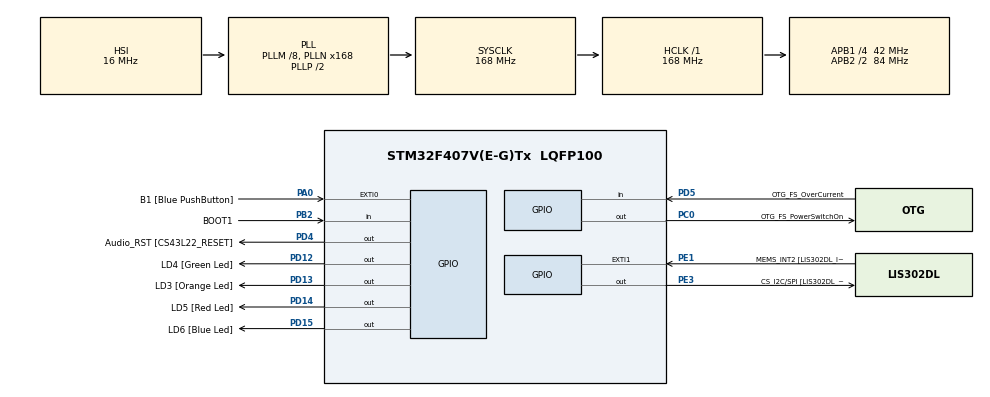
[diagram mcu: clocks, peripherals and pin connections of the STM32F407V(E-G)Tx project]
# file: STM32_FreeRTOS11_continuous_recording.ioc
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Mcu.Family=STM32F4
Mcu.Name=STM32F407V(E-G)Tx
Mcu.Package=LQFP100
NVIC.EXTI0_IRQn=true\:6\:0\:true\:false\:true\:true\:false\:true
NVIC.PriorityGroup=NVIC_PRIORITYGROUP_4
NVIC.TIM6_DAC_IRQn=true\:0\:0\:true\:false\:true\:false\:true\:true
NVIC.TimeBase=TIM6_DAC_IRQn
NVIC.TimeBaseIP=TIM6
PA0-WKUP.GPIO_Label=B1 [Blue PushButton]
PA0-WKUP.Signal=GPXTI0
PA10.GPIO_Label=OTG_FS_ID
PA10.GPIO_Mode=GPIO_MODE_AF_PP
PA10.GPIO_PuPd=GPIO_NOPULL
PA10.GPIO_Speed=GPIO_SPEED_FREQ_LOW
PA10.Signal=USB_OTG_FS_ID
PA11.GPIO_Label=OTG_FS_DM
PA11.GPIO_Mode=GPIO_MODE_AF_PP
PA11.GPIO_PuPd=GPIO_NOPULL
PA11.GPIO_Speed=GPIO_SPEED_FREQ_LOW
PA11.Signal=USB_OTG_FS_DM
PA12.GPIO_Label=OTG_FS_DP
PA12.GPIO_Mode=GPIO_MODE_AF_PP
PA12.GPIO_PuPd=GPIO_NOPULL
PA12.GPIO_Speed=GPIO_SPEED_FREQ_LOW
PA12.Signal=USB_OTG_FS_DP
PA13.GPIO_Label=SWDIO
PA13.Mode=Trace_Asynchronous_SW
PA13.Signal=SYS_JTMS-SWDIO
PA14.GPIO_Label=SWCLK
PA14.Mode=Trace_Asynchronous_SW
PA14.Signal=SYS_JTCK-SWCLK
PA4.GPIO_Label=I2S3_WS [CS43L22_LRCK]
PA4.GPIO_Mode=GPIO_MODE_AF_PP
PA4.GPIO_PuPd=GPIO_NOPULL
PA4.GPIO_Speed=GPIO_SPEED_FREQ_LOW
PA4.Signal=I2S3_WS
PA5.GPIO_Label=SPI1_SCK [LIS302DL_SCL/SPC]
PA5.GPIO_Mode=GPIO_MODE_AF_PP
PA5.GPIO_PuPd=GPIO_NOPULL
PA5.GPIO_Speed=GPIO_SPEED_FREQ_LOW
PA5.Signal=SPI1_SCK
PA6.GPIO_Label=SPI1_MISO [LIS302DL_SDO]
PA6.GPIO_Mode=GPIO_MODE_AF_PP
PA6.GPIO_PuPd=GPIO_NOPULL
PA6.GPIO_Speed=GPIO_SPEED_FREQ_LOW
PA6.Signal=SPI1_MISO
PA7.GPIO_Label=SPI1_MOSI [LIS302DL_SDA/SDI/SDO]
PA7.GPIO_Mode=GPIO_MODE_AF_PP
PA7.GPIO_PuPd=GPIO_NOPULL
PA7.GPIO_Speed=GPIO_SPEED_FREQ_LOW
PA7.Signal=SPI1_MOSI
PA9.GPIO_Label=VBUS_FS
PA9.GPIO_Mode=GPIO_MODE_INPUT
PA9.GPIO_PuPd=GPIO_NOPULL
PA9.Signal=USB_OTG_FS_VBUS
PB10.GPIO_Label=CLK_IN [MP45DT02_CLK]
PB10.GPIO_Mode=GPIO_MODE_AF_PP
PB10.GPIO_PuPd=GPIO_NOPULL
PB10.GPIO_Speed=GPIO_SPEED_FREQ_LOW
PB10.Signal=I2S2_CK
PB2.GPIO_Label=BOOT1
PB2.GPIO_Mode=GPIO_MODE_INPUT
PB2.GPIO_PuPd=GPIO_NOPULL
PB2.Signal=GPIO_Input
PB3.GPIO_Label=SWO
PB3.Mode=Trace_Asynchronous_SW
PB3.Signal=SYS_JTDO-SWO
PB6.GPIO_Label=Audio_SCL [CS43L22_SCL]
PB6.GPIO_Mode=GPIO_MODE_AF_OD
PB6.GPIO_PuPd=GPIO_NOPULL
PB6.GPIO_Speed=GPIO_SPEED_FREQ_LOW
PB6.Signal=I2C1_SCL
PB9.GPIO_Label=Audio_SDA [CS43L22_SDA]
PB9.GPIO_Mode=GPIO_MODE_AF_OD
PB9.GPIO_PuPd=GPIO_NOPULL
PB9.GPIO_Speed=GPIO_SPEED_FREQ_LOW
PB9.Signal=I2C1_SDA
PC0.GPIO_Label=OTG_FS_PowerSwitchOn
PC0.GPIO_PuPd=GPIO_NOPULL
PC0.GPIO_Speed=GPIO_SPEED_FREQ_LOW
PC0.PinState=GPIO_PIN_SET
PC0.Signal=GPIO_Output
PC10.GPIO_Label=I2S3_SCK [CS43L22_SCLK]
PC10.GPIO_Mode=GPIO_MODE_AF_PP
PC10.GPIO_PuPd=GPIO_NOPULL
PC10.GPIO_Speed=GPIO_SPEED_FREQ_LOW
PC10.Signal=I2S3_CK
PC12.GPIO_Label=I2S3_SD [CS43L22_SDIN]
PC12.GPIO_Mode=GPIO_MODE_AF_PP
PC12.GPIO_PuPd=GPIO_NOPULL
PC12.GPIO_Speed=GPIO_SPEED_FREQ_LOW
PC12.Signal=I2S3_SD
PC14-OSC32_IN.GPIO_Label=PC14-OSC32_IN
PC14-OSC32_IN.Signal=RCC_OSC32_IN
PC15-OSC32_OUT.GPIO_Label=PC15-OSC32_OUT
PC15-OSC32_OUT.Signal=RCC_OSC32_OUT
PC3.GPIO_Label=PDM_OUT [MP45DT02_DOUT]
PC3.GPIO_Mode=GPIO_MODE_AF_PP
PC3.GPIO_PuPd=GPIO_NOPULL
PC3.GPIO_Speed=GPIO_SPEED_FREQ_LOW
PC3.Signal=I2S2_SD
PC7.GPIO_Label=I2S3_MCK [CS43L22_MCLK]
PC7.GPIO_Mode=GPIO_MODE_AF_PP
PC7.GPIO_PuPd=GPIO_NOPULL
PC7.GPIO_Speed=GPIO_SPEED_FREQ_LOW
PC7.Signal=I2S3_MCK
PD12.GPIO_Label=LD4 [Green Led]
PD12.GPIO_PuPd=GPIO_NOPULL
PD12.GPIO_Speed=GPIO_SPEED_FREQ_LOW
PD12.Signal=GPIO_Output
PD13.GPIO_Label=LD3 [Orange Led]
PD13.GPIO_PuPd=GPIO_NOPULL
PD13.GPIO_Speed=GPIO_SPEED_FREQ_LOW
PD13.Signal=GPIO_Output
PD14.GPIO_Label=LD5 [Red Led]
PD14.GPIO_PuPd=GPIO_NOPULL
PD14.GPIO_Speed=GPIO_SPEED_FREQ_LOW
PD14.Signal=GPIO_Output
PD15.GPIO_Label=LD6 [Blue Led]
PD15.GPIO_PuPd=GPIO_NOPULL
PD15.GPIO_Speed=GPIO_SPEED_FREQ_LOW
PD15.Signal=GPIO_Output
PD4.GPIO_Label=Audio_RST [CS43L22_RESET]
PD4.GPIO_PuPd=GPIO_NOPULL
PD4.GPIO_Speed=GPIO_SPEED_FREQ_LOW
PD4.Signal=GPIO_Output
PD5.GPIO_Label=OTG_FS_OverCurrent
PD5.GPIO_Mode=GPIO_MODE_INPUT
PD5.GPIO_PuPd=GPIO_NOPULL
PD5.Signal=GPIO_Input
PE1.GPIO_Label=MEMS_INT2 [LIS302DL_INT2]
PE1.GPIO_ModeDefaultEXTI=GPIO_MODE_EVT_RISING
PE1.GPIO_PuPd=GPIO_NOPULL
PE1.Signal=GPXTI1
PE3.GPIO_Label=CS_I2C/SPI [LIS302DL_CS_I2C/SPI]
PE3.GPIO_PuPd=GPIO_NOPULL
PE3.GPIO_Speed=GPIO_SPEED_FREQ_LOW
PE3.Signal=GPIO_Output
PH0-OSC_IN.GPIO_Label=PH0-OSC_IN
PH0-OSC_IN.Signal=RCC_OSC_IN
PH1-OSC_OUT.GPIO_Label=PH1-OSC_OUT
PH1-OSC_OUT.Signal=RCC_OSC_OUT
ProjectManager.HeapSize=0x200
ProjectManager.StackSize=0x400
ProjectManager.TargetToolchain=STM32CubeIDE
RCC.48MHZClocksFreq_Value=48000000
RCC.AHBFreq_Value=168000000
RCC.APB1CLKDivider=RCC_HCLK_DIV4
RCC.APB1Freq_Value=42000000
RCC.APB1TimFreq_Value=84000000
RCC.APB2CLKDivider=RCC_HCLK_DIV2
RCC.APB2Freq_Value=84000000
RCC.APB2TimFreq_Value=168000000
RCC.CortexFreq_Value=168000000
RCC.HCLKFreq_Value=168000000
RCC.HSE_VALUE=8000000
RCC.HSI_VALUE=16000000
RCC.LSE_VALUE=32768
RCC.PLLM=8
RCC.PLLN=168
RCC.PLLQ=7
RCC.SYSCLKFreq_VALUE=168000000
RCC.SYSCLKSource=RCC_SYSCLKSOURCE_PLLCLK
RCC.VCOOutputFreq_Value=336000000
VP_SYS_VS_tim6.Mode=TIM6
board=STM32F407G-DISC1

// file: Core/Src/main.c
/* USER CODE BEGIN Header */
/**
  ******************************************************************************
  * @file           : main.c
  * @brief          : Main program body
  ******************************************************************************
  * @attention
  *
  * <h2><center>&copy; Copyright (c) 2021 STMicroelectronics.
  * All rights reserved.</center></h2>
  *
  * This software component is licensed by ST under BSD 3-Clause license,
  * the "License"; You may not use this file except in compliance with the
  * License. You may obtain a copy of the License at:
  *                        opensource.org/licenses/BSD-3-Clause
  *
  ******************************************************************************
  */
/* USER CODE END Header */
#include "main.h"

/* USER CODE BEGIN Includes */
#include <stdio.h>
#include "FreeRTOS.h"
#include "task.h"

/* USER CODE END Includes */

/* USER CODE BEGIN PV */

#define DWT_CTRL    (*(volatile uint32_t*)0xE0001000)

/* USER CODE END PV */

void SystemClock_Config(void);
static void MX_GPIO_Init(void);
/* USER CODE BEGIN PFP */

//task handlers
static void led_green_handler(void* parameters);
static void led_orange_handler(void* parameters);
static void led_red_handler(void* parameters);

extern  void SEGGER_UART_init(uint32_t);
/* USER CODE END PFP */

/* USER CODE BEGIN 0 */
TaskHandle_t led_green_handle;
TaskHandle_t led_orange_handle;
TaskHandle_t led_red_handle;
TaskHandle_t button_handle;

TaskHandle_t volatile next_task_handle = NULL;

/* USER CODE END 0 */

int main(void)
{

  /* USER CODE BEGIN 1 */

  BaseType_t status;

  /* USER CODE END 1 */

  /* MCU Configuration--------------------------------------------------------*/

  /* Reset of all peripherals, Initializes the Flash interface and the Systick. */
  HAL_Init();

  /* Configure the system clock */
  SystemClock_Config();

  /* Initialize all configured peripherals */
  MX_GPIO_Init();
  /* USER CODE BEGIN 2 */

  //Enable the CYCCNT counter.
  DWT_CTRL |= ( 1 << 0);

  SEGGER_UART_init(500000);

  SEGGER_SYSVIEW_Conf();

 // SEGGER_SYSVIEW_Start();

  status = xTaskCreate(led_green_handler, "Task-1", 200, NULL, 3, &led_green_handle);

  configASSERT(status == pdPASS);

  next_task_handle = led_green_handle;

  status = xTaskCreate(led_orange_handler, "Task-2", 200, NULL, 2, &led_orange_handle);

  configASSERT(status == pdPASS);

  status = xTaskCreate(led_red_handler, "Task-3", 200, NULL, 1, &led_red_handle);

  configASSERT(status == pdPASS);

  //start the freeRTOS scheduler
  vTaskStartScheduler();

  //if the control comes here, then the launch of the scheduler has failed due to
  //insufficient memory in heap

  /* USER CODE END 2 */

  /* Infinite loop */
  while (1)
  {

  }
}

void SystemClock_Config(void)
{
  RCC_OscInitTypeDef RCC_OscInitStruct = {0};
  RCC_ClkInitTypeDef RCC_ClkInitStruct = {0};

  /** Configure the main internal regulator output voltage
  */
  __HAL_RCC_PWR_CLK_ENABLE();
  __HAL_PWR_VOLTAGESCALING_CONFIG(PWR_REGULATOR_VOLTAGE_SCALE1);

  /** Initializes the RCC Oscillators according to the specified parameters
  * in the RCC_OscInitTypeDef structure.
  */
  RCC_OscInitStruct.OscillatorType = RCC_OSCILLATORTYPE_HSI;
  RCC_OscInitStruct.HSIState = RCC_HSI_ON;
  RCC_OscInitStruct.HSICalibrationValue = RCC_HSICALIBRATION_DEFAULT;
  RCC_OscInitStruct.PLL.PLLState = RCC_PLL_ON;
  RCC_OscInitStruct.PLL.PLLSource = RCC_PLLSOURCE_HSI;
  RCC_OscInitStruct.PLL.PLLM = 8;
  RCC_OscInitStruct.PLL.PLLN = 168;
  RCC_OscInitStruct.PLL.PLLP = RCC_PLLP_DIV2;
  RCC_OscInitStruct.PLL.PLLQ = 7;
  if (HAL_RCC_OscConfig(&RCC_OscInitStruct) != HAL_OK)
  {
    Error_Handler();
  }

  /** Initializes the CPU, AHB and APB buses clocks
  */
  RCC_ClkInitStruct.ClockType = RCC_CLOCKTYPE_HCLK|RCC_CLOCKTYPE_SYSCLK
                              |RCC_CLOCKTYPE_PCLK1|RCC_CLOCKTYPE_PCLK2;
  RCC_ClkInitStruct.SYSCLKSource = RCC_SYSCLKSOURCE_PLLCLK;
  RCC_ClkInitStruct.AHBCLKDivider = RCC_SYSCLK_DIV1;
  RCC_ClkInitStruct.APB1CLKDivider = RCC_HCLK_DIV4;
  RCC_ClkInitStruct.APB2CLKDivider = RCC_HCLK_DIV2;

  if (HAL_RCC_ClockConfig(&RCC_ClkInitStruct, FLASH_LATENCY_5) != HAL_OK)
  {
    Error_Handler();
  }
}

static void MX_GPIO_Init(void)
{
  GPIO_InitTypeDef GPIO_InitStruct = {0};

  /* GPIO Ports Clock Enable */
  __HAL_RCC_GPIOE_CLK_ENABLE();
  __HAL_RCC_GPIOC_CLK_ENABLE();
  __HAL_RCC_GPIOH_CLK_ENABLE();
  __HAL_RCC_GPIOA_CLK_ENABLE();
  __HAL_RCC_GPIOB_CLK_ENABLE();
  __HAL_RCC_GPIOD_CLK_ENABLE();

  /*Configure GPIO pin Output Level */
  HAL_GPIO_WritePin(CS_I2C_SPI_GPIO_Port, CS_I2C_SPI_Pin, GPIO_PIN_RESET);

  /*Configure GPIO pin Output Level */
  HAL_GPIO_WritePin(OTG_FS_PowerSwitchOn_GPIO_Port, OTG_FS_PowerSwitchOn_Pin, GPIO_PIN_SET);

  /*Configure GPIO pin Output Level */
  HAL_GPIO_WritePin(GPIOD, LD4_Pin|LD3_Pin|LD5_Pin|LD6_Pin
                          |Audio_RST_Pin, GPIO_PIN_RESET);

  /*Configure GPIO pin : CS_I2C_SPI_Pin */
  GPIO_InitStruct.Pin = CS_I2C_SPI_Pin;
  GPIO_InitStruct.Mode = GPIO_MODE_OUTPUT_PP;
  GPIO_InitStruct.Pull = GPIO_NOPULL;
  GPIO_InitStruct.Speed = GPIO_SPEED_FREQ_LOW;
  HAL_GPIO_Init(CS_I2C_SPI_GPIO_Port, &GPIO_InitStruct);

  /*Configure GPIO pin : OTG_FS_PowerSwitchOn_Pin */
  GPIO_InitStruct.Pin = OTG_FS_PowerSwitchOn_Pin;
  GPIO_InitStruct.Mode = GPIO_MODE_OUTPUT_PP;
  GPIO_InitStruct.Pull = GPIO_NOPULL;
  GPIO_InitStruct.Speed = GPIO_SPEED_FREQ_LOW;
  HAL_GPIO_Init(OTG_FS_PowerSwitchOn_GPIO_Port, &GPIO_InitStruct);

  /*Configure GPIO pin : PDM_OUT_Pin */
  GPIO_InitStruct.Pin = PDM_OUT_Pin;
  GPIO_InitStruct.Mode = GPIO_MODE_AF_PP;
  GPIO_InitStruct.Pull = GPIO_NOPULL;
  GPIO_InitStruct.Speed = GPIO_SPEED_FREQ_LOW;
  GPIO_InitStruct.Alternate = GPIO_AF5_SPI2;
  HAL_GPIO_Init(PDM_OUT_GPIO_Port, &GPIO_InitStruct);

  /*Configure GPIO pin : B1_Pin */
  GPIO_InitStruct.Pin = B1_Pin;
  GPIO_InitStruct.Mode = GPIO_MODE_IT_RISING;
  GPIO_InitStruct.Pull = GPIO_NOPULL;
  HAL_GPIO_Init(B1_GPIO_Port, &GPIO_InitStruct);

  /*Configure GPIO pin : I2S3_WS_Pin */
  GPIO_InitStruct.Pin = I2S3_WS_Pin;
  GPIO_InitStruct.Mode = GPIO_MODE_AF_PP;
  GPIO_InitStruct.Pull = GPIO_NOPULL;
  GPIO_InitStruct.Speed = GPIO_SPEED_FREQ_LOW;
  GPIO_InitStruct.Alternate = GPIO_AF6_SPI3;
  HAL_GPIO_Init(I2S3_WS_GPIO_Port, &GPIO_InitStruct);

  /*Configure GPIO pins : SPI1_SCK_Pin SPI1_MISO_Pin SPI1_MOSI_Pin */
  GPIO_InitStruct.Pin = SPI1_SCK_Pin|SPI1_MISO_Pin|SPI1_MOSI_Pin;
  GPIO_InitStruct.Mode = GPIO_MODE_AF_PP;
  GPIO_InitStruct.Pull = GPIO_NOPULL;
  GPIO_InitStruct.Speed = GPIO_SPEED_FREQ_LOW;
  GPIO_InitStruct.Alternate = GPIO_AF5_SPI1;
  HAL_GPIO_Init(GPIOA, &GPIO_InitStruct);

  /*Configure GPIO pin : BOOT1_Pin */
  GPIO_InitStruct.Pin = BOOT1_Pin;
  GPIO_InitStruct.Mode = GPIO_MODE_INPUT;
  GPIO_InitStruct.Pull = GPIO_NOPULL;
  HAL_GPIO_Init(BOOT1_GPIO_Port, &GPIO_InitStruct);

  /*Configure GPIO pin : CLK_IN_Pin */
  GPIO_InitStruct.Pin = CLK_IN_Pin;
  GPIO_InitStruct.Mode = GPIO_MODE_AF_PP;
  GPIO_InitStruct.Pull = GPIO_NOPULL;
  GPIO_InitStruct.Speed = GPIO_SPEED_FREQ_LOW;
  GPIO_InitStruct.Alternate = GPIO_AF5_SPI2;
  HAL_GPIO_Init(CLK_IN_GPIO_Port, &GPIO_InitStruct);

  /*Configure GPIO pins : LD4_Pin LD3_Pin LD5_Pin LD6_Pin
                           Audio_RST_Pin */
  GPIO_InitStruct.Pin = LD4_Pin|LD3_Pin|LD5_Pin|LD6_Pin
                          |Audio_RST_Pin;
  GPIO_InitStruct.Mode = GPIO_MODE_OUTPUT_PP;
  GPIO_InitStruct.Pull = GPIO_NOPULL;
  GPIO_InitStruct.Speed = GPIO_SPEED_FREQ_LOW;
  HAL_GPIO_Init(GPIOD, &GPIO_InitStruct);

  /*Configure GPIO pins : I2S3_MCK_Pin I2S3_SCK_Pin I2S3_SD_Pin */
  GPIO_InitStruct.Pin = I2S3_MCK_Pin|I2S3_SCK_Pin|I2S3_SD_Pin;
  GPIO_InitStruct.Mode = GPIO_MODE_AF_PP;
  GPIO_InitStruct.Pull = GPIO_NOPULL;
  GPIO_InitStruct.Speed = GPIO_SPEED_FREQ_LOW;
  GPIO_InitStruct.Alternate = GPIO_AF6_SPI3;
  HAL_GPIO_Init(GPIOC, &GPIO_InitStruct);

  /*Configure GPIO pin : VBUS_FS_Pin */
  GPIO_InitStruct.Pin = VBUS_FS_Pin;
  GPIO_InitStruct.Mode = GPIO_MODE_INPUT;
  GPIO_InitStruct.Pull = GPIO_NOPULL;
  HAL_GPIO_Init(VBUS_FS_GPIO_Port, &GPIO_InitStruct);

  /*Configure GPIO pins : OTG_FS_ID_Pin OTG_FS_DM_Pin OTG_FS_DP_Pin */
  GPIO_InitStruct.Pin = OTG_FS_ID_Pin|OTG_FS_DM_Pin|OTG_FS_DP_Pin;
  GPIO_InitStruct.Mode = GPIO_MODE_AF_PP;
  GPIO_InitStruct.Pull = GPIO_NOPULL;
  GPIO_InitStruct.Speed = GPIO_SPEED_FREQ_LOW;
  GPIO_InitStruct.Alternate = GPIO_AF10_OTG_FS;
  HAL_GPIO_Init(GPIOA, &GPIO_InitStruct);

  /*Configure GPIO pin : OTG_FS_OverCurrent_Pin */
  GPIO_InitStruct.Pin = OTG_FS_OverCurrent_Pin;
  GPIO_InitStruct.Mode = GPIO_MODE_INPUT;
  GPIO_InitStruct.Pull = GPIO_NOPULL;
  HAL_GPIO_Init(OTG_FS_OverCurrent_GPIO_Port, &GPIO_InitStruct);

  /*Configure GPIO pins : Audio_SCL_Pin Audio_SDA_Pin */
  GPIO_InitStruct.Pin = Audio_SCL_Pin|Audio_SDA_Pin;
  GPIO_InitStruct.Mode = GPIO_MODE_AF_OD;
  GPIO_InitStruct.Pull = GPIO_NOPULL;
  GPIO_InitStruct.Speed = GPIO_SPEED_FREQ_LOW;
  GPIO_InitStruct.Alternate = GPIO_AF4_I2C1;
  HAL_GPIO_Init(GPIOB, &GPIO_InitStruct);

  /*Configure GPIO pin : MEMS_INT2_Pin */
  GPIO_InitStruct.Pin = MEMS_INT2_Pin;
  GPIO_InitStruct.Mode = GPIO_MODE_EVT_RISING;
  GPIO_InitStruct.Pull = GPIO_NOPULL;
  HAL_GPIO_Init(MEMS_INT2_GPIO_Port, &GPIO_InitStruct);

  /* EXTI interrupt init*/
  HAL_NVIC_SetPriority(EXTI0_IRQn, 6, 0);
  HAL_NVIC_EnableIRQ(EXTI0_IRQn);

}

/* USER CODE BEGIN 4 */

void button_interrupt_handler(void){
  traceISR_ENTER();
  xTaskNotifyFromISR(next_task_handle, 0, eNoAction, NULL);
  traceISR_EXIT();
}

static void led_green_handler(void* parameters){
  BaseType_t status;
  while(1){
    SEGGER_SYSVIEW_PrintfTarget("Toggling Green LED");
    HAL_GPIO_TogglePin(GPIOD, GPIO_PIN_12);
    status = xTaskNotifyWait(0, 0, NULL, pdMS_TO_TICKS(1000));
    if(status == pdTRUE){
      portENTER_CRITICAL();
      next_task_handle = led_orange_handle;
      HAL_GPIO_WritePin(GPIOD, GPIO_PIN_12, GPIO_PIN_SET);
      SEGGER_SYSVIEW_PrintfTarget("Deleting Green LED");
      portEXIT_CRITICAL();
      vTaskDelete(NULL);
    }
  }
}

static void led_orange_handler(void* parameters){
  BaseType_t status;
  while(1){
    SEGGER_SYSVIEW_PrintfTarget("Toggling Orange LED");
    HAL_GPIO_TogglePin(GPIOD, GPIO_PIN_13);
    status = xTaskNotifyWait(0, 0, NULL, pdMS_TO_TICKS(800));
    if(status == pdTRUE){
      portENTER_CRITICAL();
      next_task_handle = led_red_handle;
      HAL_GPIO_WritePin(GPIOD, GPIO_PIN_13, GPIO_PIN_SET);
      SEGGER_SYSVIEW_PrintfTarget("Deleting Orange LED");
      portEXIT_CRITICAL();
      vTaskDelete(NULL);
    }
  }

}

static void led_red_handler(void* parameters){
  BaseType_t status;
  while(1){
    SEGGER_SYSVIEW_PrintfTarget("Toggling RED LED");
    HAL_GPIO_TogglePin(GPIOD, GPIO_PIN_14);
    status = xTaskNotifyWait(0, 0, NULL, pdMS_TO_TICKS(400));
    if(status == pdTRUE){
      portENTER_CRITICAL();
      next_task_handle = NULL;
      HAL_GPIO_WritePin(GPIOD, GPIO_PIN_14, GPIO_PIN_SET);
      SEGGER_SYSVIEW_PrintfTarget("Deleting Red LED");
      portEXIT_CRITICAL();
      vTaskDelete(button_handle);
      vTaskDelete(NULL);
    }
  }

}

/* USER CODE END 4 */

void HAL_TIM_PeriodElapsedCallback(TIM_HandleTypeDef *htim)
{
  if (htim->Instance == TIM6) {
    HAL_IncTick();
  }
}

void Error_Handler(void)
{
}
